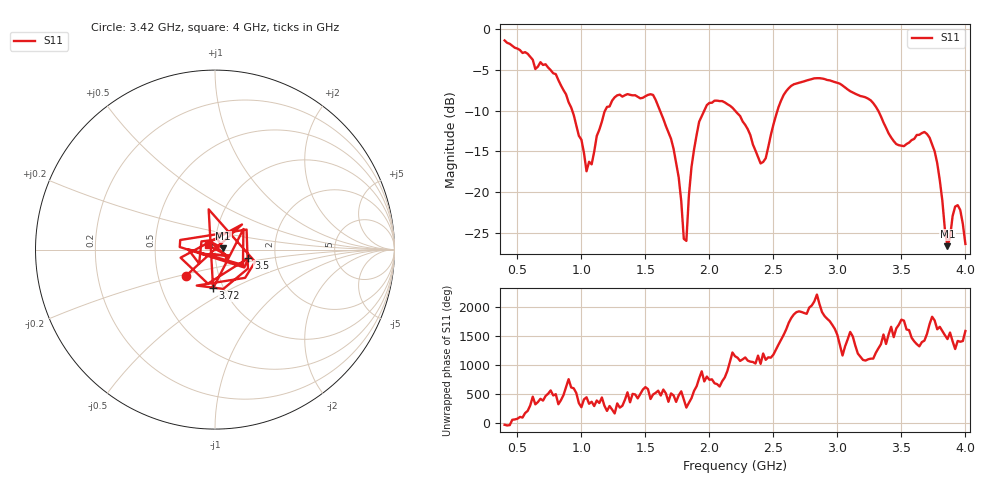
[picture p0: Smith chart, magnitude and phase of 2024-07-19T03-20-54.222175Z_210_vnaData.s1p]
!Created with skrf (http://scikit-rf.org).
# Hz S RI R 50.0
!freq ReS11 ImS11
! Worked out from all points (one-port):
!   181 points, 400 MHz to 4 GHz, reference 50 ohm
!   lowest |S11| = -26.7 dB at 3.86 GHz (marker M1), VSWR 1.10, Z = 54.8 + j0.852 ohm
!   |S11| at or under -10 dB: 1.614 GHz to 1.959 GHz (345.1 MHz wide, 19.3 % of centre); 2.2 GHz to 2.532 GHz (331.3 MHz wide, 14 % of centre); 3.319 GHz to end of sweep (the widest 3 of 4)
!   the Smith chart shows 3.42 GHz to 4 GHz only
!   S11 on the Smith chart (normalised r, x): 3.42 GHz: 0.70, -0.21; 3.5 GHz: 1.45, -0.14; 3.72 GHz: 0.89, -0.40; 4 GHz: 0.92, +0.05
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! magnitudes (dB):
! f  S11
! 400 MHz  -1.4
! 860 MHz  -7.5
! 1 GHz  -13.6
! 1.04 GHz  -17.5
! 1.18 GHz  -10.2
! 1.3 GHz  -8.0
! 1.56 GHz  -8.1
! 1.7 GHz  -13.5
! 1.76 GHz  -18.2
! 1.8 GHz  -25.8
! 1.82 GHz  -26.0
! 1.86 GHz  -16.9
! 1.92 GHz  -11.4
! 2.04 GHz  -8.8
! 2.2 GHz  -10.0
! 2.4 GHz  -16.5
! 2.56 GHz  -8.8
! 2.66 GHz  -6.8
! 3.1 GHz  -7.6
! 3.28 GHz  -9.1
! 3.42 GHz  -13.3
! 3.5 GHz  -14.3
! 3.56 GHz  -13.9
! 3.72 GHz  -13.3
! 3.78 GHz  -16.5
! 3.86 GHz  -26.7
! 3.94 GHz  -21.6
! 4 GHz  -26.4
